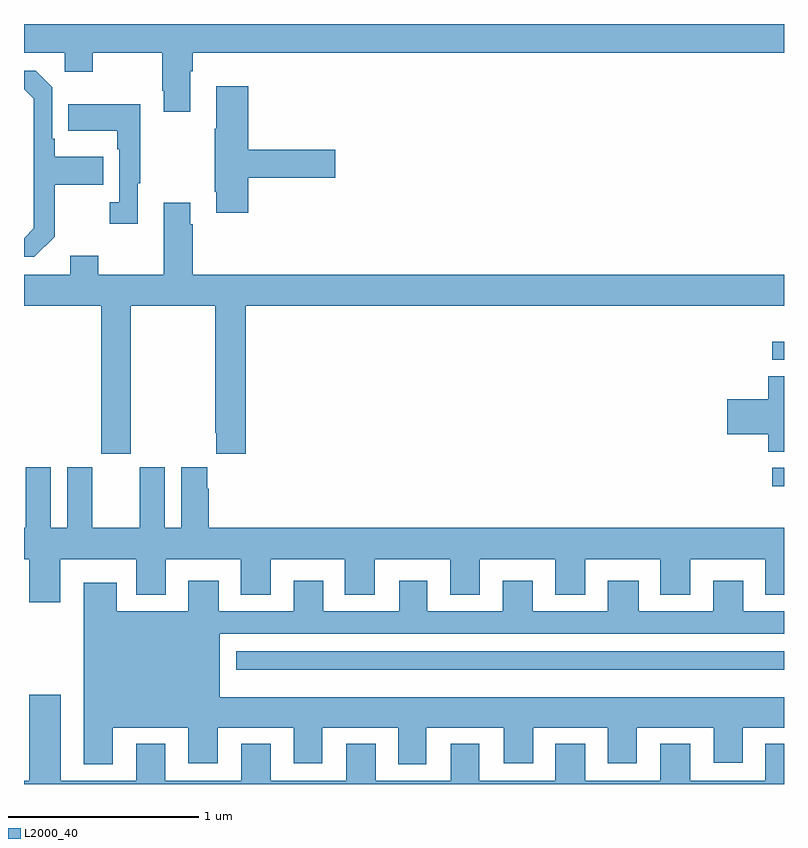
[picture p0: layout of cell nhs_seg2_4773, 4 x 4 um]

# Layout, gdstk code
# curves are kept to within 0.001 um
import gdstk
lib = gdstk.Library(unit=1e-6, precision=1e-09)
def R(c, l, rs):  # rectangles x0, y0, x1, y1
    for r in rs: c.add(gdstk.rectangle(r[:2], r[2:], *l))
def P(c, l, *ps):  # polygons
    for p in ps: c.add(gdstk.Polygon(p, *l))
L2000_40 = (2000, 40)

nhs_seg2_4773 = lib.new_cell('nhs_seg2_4773')
R(nhs_seg2_4773, L2000_40, [(372.116,632.402,375,632.499), (374.937,633.367,375,633.465), (374.937,634.032,375,634.128)])
P(nhs_seg2_4773, L2000_40, [(371.875,635.552),(371.888,635.552),(371.888,635.648),(375,635.648),(375,635.8),(371,635.8),(371,635.648),(371.214,635.648),(371.214,635.549),(371.361,635.549),(371.361,635.648),(371.728,635.648),(371.728,635.449),(371.735,635.449),(371.735,635.337),(371.875,635.337)],
  [(371.161,634.681),(371.161,634.954),(371.417,634.954),(371.417,635.101),(371.161,635.101),(371.161,635.197),(371.148,635.197),(371.148,635.466),(371.061,635.553),(371,635.553),(371,635.457),(371.052,635.406),(371.052,634.725),(371,634.673),(371,634.575),(371.055,634.575)],
  [(372.179,634.991),(372.637,634.991),(372.637,635.138),(372.179,635.138),(372.179,635.473),(372.011,635.473),(372.011,635.249),(372.004,635.249),(372.004,634.918),(372.011,634.918),(372.011,634.806),(372.179,634.806)],
  [(371.599,634.961),(371.611,634.961),(371.611,635.377),(371.233,635.377),(371.233,635.237),(371.49,635.237),(371.49,635.141),(371.502,635.141),(371.502,634.862),(371.451,634.862),(371.451,634.749),(371.599,634.749)],
  [(371.562,634.316),(372.007,634.316),(372.007,633.649),(372.011,633.649),(372.011,633.537),(372.167,633.537),(372.167,634.316),(375,634.316),(375,634.48),(371.888,634.48),(371.888,634.745),(371.875,634.745),(371.875,634.858),(371.735,634.858),(371.735,634.48),(371.391,634.48),(371.391,634.579),(371.243,634.579),(371.243,634.48),(371,634.48),(371,634.316),(371.407,634.316),(371.407,633.537),(371.562,633.537)],
  [(375,633.947),(374.918,633.947),(374.918,633.824),(374.7,633.824),(374.7,633.641),(374.918,633.641),(374.918,633.55),(375,633.55)],
  [(371.972,633.353),(371.965,633.353),(371.965,633.466),(371.828,633.466),(371.828,633.148),(371.74,633.148),(371.74,633.466),(371.609,633.466),(371.609,633.148),(371.359,633.148),(371.359,633.466),(371.228,633.466),(371.228,633.148),(371.14,633.148),(371.14,633.466),(371.009,633.466),(371.009,633.148),(371,633.148),(371,632.984),(371.027,632.984),(371.027,632.757),(371.191,632.757),(371.191,632.984),(371.591,632.984),(371.591,632.795),(371.746,632.795),(371.746,632.984),(372.14,632.984),(372.14,632.795),(372.298,632.795),(372.298,632.984),(372.689,632.984),(372.689,632.795),(372.847,632.795),(372.847,632.984),(373.244,632.984),(373.244,632.795),(373.399,632.795),(373.399,632.984),(373.796,632.984),(373.796,632.795),(373.954,632.795),(373.954,632.984),(374.348,632.984),(374.348,632.795),(374.506,632.795),(374.506,632.984),(374.9,632.984),(374.9,632.795),(375,632.795),(375,633.148),(371.972,633.148)],
  [(371.467,632.096),(371.864,632.096),(371.864,631.908),(372.019,631.908),(372.019,632.096),(372.419,632.096),(372.419,631.908),(372.571,631.908),(372.571,632.096),(372.971,632.096),(372.971,631.905),(373.117,631.905),(373.117,632.096),(373.526,632.096),(373.526,631.908),(373.681,631.908),(373.681,632.096),(374.072,632.096),(374.072,631.908),(374.224,631.908),(374.224,632.096),(374.63,632.096),(374.63,631.911),(374.782,631.911),(374.782,632.096),(375,632.096),(375,632.257),(372.031,632.257),(372.031,632.591),(375,632.591),(375,632.71),(374.785,632.71),(374.785,632.869),(374.627,632.869),(374.627,632.71),(374.236,632.71),(374.236,632.869),(374.072,632.869),(374.072,632.71),(373.678,632.71),(373.678,632.869),(373.52,632.869),(373.52,632.71),(373.123,632.71),(373.123,632.869),(372.974,632.869),(372.974,632.71),(372.574,632.71),(372.574,632.869),(372.419,632.869),(372.419,632.71),(372.025,632.71),(372.025,632.869),(371.864,632.869),(371.864,632.71),(371.488,632.71),(371.488,632.86),(371.315,632.86),(371.315,631.905),(371.467,631.905)],
  [(372.695,632.011),(372.695,631.816),(372.298,631.816),(372.298,632.011),(372.143,632.011),(372.143,631.816),(371.743,631.816),(371.743,632.011),(371.591,632.011),(371.591,631.816),(371.194,631.816),(371.194,632.269),(371.027,632.269),(371.027,631.816),(371,631.816),(371,631.8),(375,631.8),(375,632.011),(374.9,632.011),(374.9,631.816),(374.506,631.816),(374.506,632.011),(374.348,632.011),(374.348,631.816),(373.954,631.816),(373.954,632.011),(373.796,632.011),(373.796,631.816),(373.396,631.816),(373.396,632.011),(373.247,632.011),(373.247,631.816),(372.85,631.816),(372.85,632.011)])

lib.write_gds('nhs_seg2_4773.gds')
